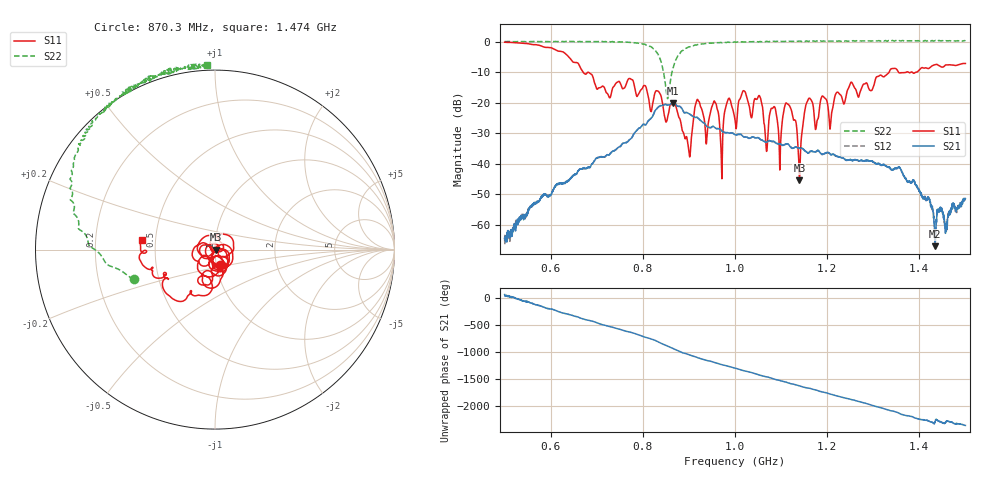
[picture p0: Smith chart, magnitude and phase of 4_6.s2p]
!Keysight Technologies,N5242B,MY48420860,A.13.80.08
!Date: Saturday, September 26, 2020 13:17:40
!Correction: S11(Full 2 Port(1,2))
!S21(Full 2 Port(1,2))
!S12(Full 2 Port(1,2))
!S22(Full 2 Port(1,2))
!S2P File: Measurements: S11, S21, S12, S22:
# Hz S  dB  R 50
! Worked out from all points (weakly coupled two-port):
!   2650 points, 500 MHz to 1.5 GHz, reference 50 ohm
!   highest |S21| = -20.06 dB at 864.7 MHz (marker M1); lowest = -66.9 dB at 1.435 GHz (marker M2)
!   lowest |S11| = -45.4 dB at 1.14 GHz (marker M3), VSWR 1.01, Z = 50.5 + j0.0422 ohm
!   |S11| at or under -10 dB: 670.2 MHz to 1.335 GHz (664.4 MHz wide, 66.3 % of centre); 1.355 GHz to 1.372 GHz (17.48 MHz wide, 1.28 % of centre); 1.384 GHz to 1.394 GHz (10.13 MHz wide, 0.729 % of centre) (the widest 3 of 4)
!   |S22| runs from -18.7 to 0.3 dB; largest |S21 - S12| = 0.00044
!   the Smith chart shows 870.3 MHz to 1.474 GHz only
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5e8  -0.24 -166.2  -64.51 56.2  -63.86 47.1  -0.02 147.2
6.038128e8  -2.22 126.8  -48.94 143.5  -49.18 144.7  -0.04 139.0
6.668554e8  -9.18 77.1  -41.70 -23.8  -41.75 -24.4  -0.05 132.6
8.337108e8  -16.31 7.0  -21.40 -98.2  -21.40 -98.3  -4.38 64.3
8.533409e8  -25.14 1.5  -20.78 -174.5  -20.81 -174.6  -18.60 -45.0
8.646659e8  -20.49 -33.8  -20.06 145.0  -20.08 144.9  -9.20 -146.1
9.00151e8  -36.15 -50.9  -23.58 25.9  -23.59 25.8  -1.76 164.9
9.18271e8  -18.92 34.4  -24.83 -25.7  -24.85 -25.6  -1.05 154.5
9.382786e8  -32.90 -12.0  -27.73 -79.0  -27.76 -79.2  -0.65 147.6
9.579086e8  -20.10 -68.9  -28.36 -123.5  -28.38 -123.5  -0.47 142.6
9.703662e8  -38.63 -103.4  -29.03 -155.5  -29.05 -155.6  -0.36 140.7
9.847112e8  -19.10 -56.3  -29.82 174.5  -29.87 174.5  -0.22 138.1
1.000189e9  -25.79 -102.6  -30.47 137.6  -30.52 137.5  -0.18 135.8
1.051906e9  -17.67 -160.7  -31.60 13.6  -31.62 13.6  -0.09 128.4
1.067384e9  -34.21 168.9  -33.03 -19.5  -33.05 -19.5  0.01 127.0
1.097584e9  -41.53 -151.4  -33.55 -91.3  -33.53 -91.1  0.04 123.9
1.114194e9  -20.44 148.6  -33.43 -129.8  -33.47 -130.1  0.08 122.7
1.139864e9  -45.42 4.5  -34.90 172.3  -34.94 172.0  0.15 120.4
1.166667e9  -19.52 -75.1  -35.94 113.8  -35.93 113.8  0.04 117.8
1.333522e9  -10.27 -120.4  -41.03 86.1  -41.00 85.7  0.31 104.2
1.434692e9  -7.55 -171.2  -66.93 -112.8  -65.04 -98.2  0.33 96.0
1.5e9  -7.19 164.9  -51.33 162.0  -51.39 162.6  0.18 90.7
